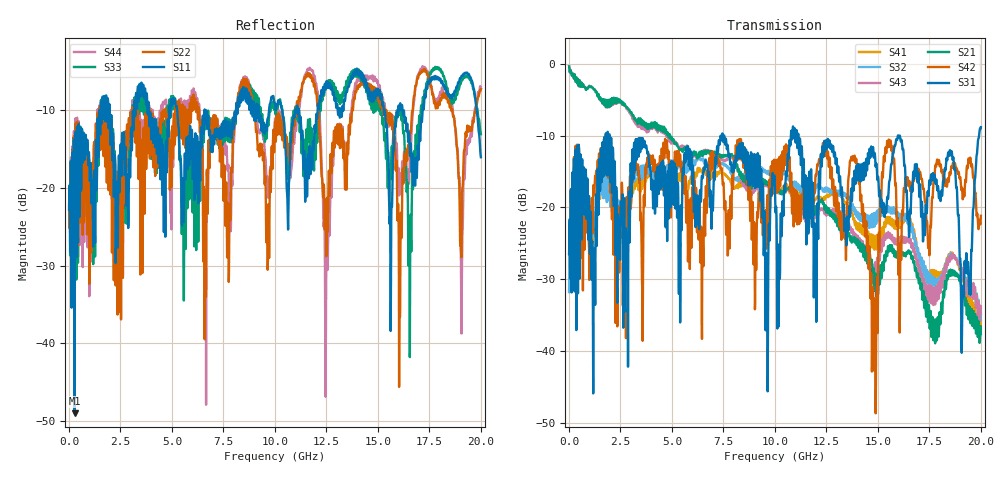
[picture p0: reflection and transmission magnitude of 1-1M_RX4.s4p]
!Agilent Technologies,N5224A,MY51441023,A.09.90.17
!Agilent N5224A: A.09.90.17
!Date: Tuesday, May 16, 2017 17:47:51
!Correction: S11(Full 4 Port(1,2,3,4))
!S12(Full 4 Port(1,2,3,4))
!S13(Full 4 Port(1,2,3,4))
!S14(Full 4 Port(1,2,3,4))
!S21(Full 4 Port(1,2,3,4))
!S22(Full 4 Port(1,2,3,4))
!S23(Full 4 Port(1,2,3,4))
!S24(Full 4 Port(1,2,3,4))
!S31(Full 4 Port(1,2,3,4))
!S32(Full 4 Port(1,2,3,4))
!S33(Full 4 Port(1,2,3,4))
!S34(Full 4 Port(1,2,3,4))
!S41(Full 4 Port(1,2,3,4))
!S42(Full 4 Port(1,2,3,4))
!S43(Full 4 Port(1,2,3,4))
!S44(Full 4 Port(1,2,3,4))
!S4P File: Measurements: <S11,S12,S13,S14>,
!<S21,S22,S23,S24>,
!<S31,S32,S33,S34>,
!<S41,S42,S43,S44>:
# Hz S  dB  R 50
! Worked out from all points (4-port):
!   2000 points, 10 MHz to 20 GHz, reference 50 ohm
!   strongest paths, dB at 10 MHz, 5.01 GHz, 10.01 GHz, 15.01 GHz, 20 GHz:
!     S31: -26.5, -19.4, -18.3, -15.7, -8.8
!     S42: -26.5, -16.8, -17.6, -29.0, -21.1
!     S21: -0.4, -10.6, -17.2, -32.1, -37.6
!     S43: -0.4, -10.7, -17.5, -28.7, -34.8
!     S32: -31.8, -14.3, -16.1, -21.8, -35.6
!     S41: -31.7, -16.6, -17.8, -25.4, -36.9
!   lowest |S11| = -49.0 dB at 280 MHz (marker M1), VSWR 1.01, Z = 49.9 + j0.347 ohm
!   |S11| at or under -10 dB: start of sweep to 1.479 GHz; 5.256 GHz to 6.585 GHz (1.329 GHz wide, 22.4 % of centre); 6.595 GHz to 8.116 GHz (1.521 GHz wide, 20.7 % of centre)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
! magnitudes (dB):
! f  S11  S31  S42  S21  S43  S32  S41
! 10 MHz  -22.8  -26.5  -26.5  -0.4  -0.4  -31.8  -31.7
! 280 MHz  -49.0  -31.7  -27.6  -1.5  -1.5  -30.2  -29.8
! 11.75 GHz  -16.1  -14.8  -19.3  -20.4  -21.9  -18.4  -19.2
! 12.49 GHz  -6.7  -10.8  -11.7  -20.6  -21.1  -17.7  -18.5
! 17.24 GHz  -9.2  -21.1  -17.8  -33.5  -31.6  -29.3  -29.8
! 19.11 GHz  -5.6  -32.1  -18.6  -31.4  -28.9  -29.0  -29.4
! 20 GHz  -16.0  -8.8  -21.1  -37.6  -34.8  -35.6  -36.9
